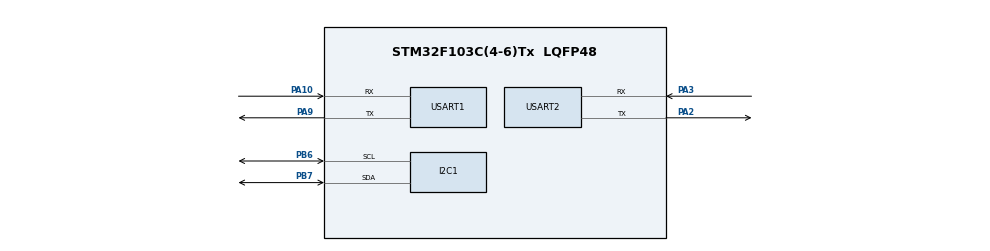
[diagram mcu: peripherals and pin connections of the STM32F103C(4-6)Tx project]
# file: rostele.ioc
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I2C1.I2C_Mode=I2C_Fast
Mcu.Family=STM32F1
Mcu.Name=STM32F103C(4-6)Tx
Mcu.Package=LQFP48
NVIC.PriorityGroup=NVIC_PRIORITYGROUP_4
NVIC.USART1_IRQn=true\:0\:0\:false\:false\:true\:true\:true\:true
NVIC.USART2_IRQn=true\:0\:0\:false\:false\:true\:true\:true\:true
PA10.Mode=Asynchronous
PA10.Signal=USART1_RX
PA2.Mode=Asynchronous
PA2.Signal=USART2_TX
PA3.Mode=Asynchronous
PA3.Signal=USART2_RX
PA9.Mode=Asynchronous
PA9.Signal=USART1_TX
PB6.Mode=I2C
PB6.Signal=I2C1_SCL
PB7.Mode=I2C
PB7.Signal=I2C1_SDA
PD0-OSC_IN.Mode=HSE-External-Oscillator
PD0-OSC_IN.Signal=RCC_OSC_IN
PD1-OSC_OUT.Mode=HSE-External-Oscillator
PD1-OSC_OUT.Signal=RCC_OSC_OUT
ProjectManager.HeapSize=0x200
ProjectManager.StackSize=0x400
ProjectManager.TargetToolchain=MDK-ARM V5.32
RCC.AHBFreq_Value=16000000
RCC.APB1CLKDivider=RCC_HCLK_DIV2
RCC.APB1Freq_Value=8000000
RCC.APB1TimFreq_Value=16000000
RCC.APB2Freq_Value=16000000
RCC.APB2TimFreq_Value=16000000
RCC.HCLKFreq_Value=16000000
RCC.PLLSourceVirtual=RCC_PLLSOURCE_HSE
RCC.SYSCLKFreq_VALUE=16000000
RCC.SYSCLKSource=RCC_SYSCLKSOURCE_PLLCLK
RCC.USBFreq_Value=16000000
USART1.VirtualMode=VM_ASYNC
USART2.VirtualMode=VM_ASYNC
VP_SYS_VS_ND.Mode=No_Debug
board=custom

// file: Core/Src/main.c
/* USER CODE BEGIN Header */
/**
  ******************************************************************************
  * @file           : main.c
  * @brief          : ROS2 cmd_vel serial receiver + echo test
  ******************************************************************************
  */
/* USER CODE END Header */
#include "main.h"
#include "i2c.h"
#include "usart.h"
#include "gpio.h"
#include "oled.h"
#include <string.h>
#include <stdio.h>

/* USER CODE BEGIN PV */
uint8_t usart1_rx;
uint8_t rx_buf[8];
uint8_t rx_idx = 0;
uint8_t rx_state = 0;
float g_vx = 0.0f, g_vy = 0.0f;
char echo_buf[64];
char oled_buf[32];
char oled_text[128];
uint8_t text_idx = 0;
/* USER CODE END PV */

void SystemClock_Config(void);

int main(void)
{

  /* MCU Configuration--------------------------------------------------------*/

  /* Reset of all peripherals, Initializes the Flash interface and the Systick. */
  HAL_Init();

  /* Configure the system clock */
  SystemClock_Config();

  /* Initialize all configured peripherals */
  MX_GPIO_Init();
  MX_USART1_UART_Init();
  MX_I2C1_Init();
  MX_USART2_UART_Init();
  /* USER CODE BEGIN 2 */
  // ??????
  char *hello = "STM32 Ready\r\n";
  HAL_UART_Transmit(&huart1, (uint8_t*)hello, strlen(hello), 100);

  // OLED 初始化并显示欢迎�?
  OLED_Init();
  OLED_NewFrame();
  OLED_PrintASCIIString(0, 0, "ROS2 OLED Ready", &afont8x6, OLED_COLOR_NORMAL);
  OLED_ShowFrame();

  HAL_UART_Receive_IT(&huart1, &usart1_rx, 1);
  /* USER CODE END 2 */

  /* Infinite loop */
  while (1)
  {

  }
}

void SystemClock_Config(void)
{
  RCC_OscInitTypeDef RCC_OscInitStruct = {0};
  RCC_ClkInitTypeDef RCC_ClkInitStruct = {0};

  /** Initializes the RCC Oscillators according to the specified parameters
  * in the RCC_OscInitTypeDef structure.
  */
  RCC_OscInitStruct.OscillatorType = RCC_OSCILLATORTYPE_HSE;
  RCC_OscInitStruct.HSEState = RCC_HSE_ON;
  RCC_OscInitStruct.HSEPredivValue = RCC_HSE_PREDIV_DIV1;
  RCC_OscInitStruct.HSIState = RCC_HSI_ON;
  RCC_OscInitStruct.PLL.PLLState = RCC_PLL_ON;
  RCC_OscInitStruct.PLL.PLLSource = RCC_PLLSOURCE_HSE;
  RCC_OscInitStruct.PLL.PLLMUL = RCC_PLL_MUL9;
  if (HAL_RCC_OscConfig(&RCC_OscInitStruct) != HAL_OK)
  {
    Error_Handler();
  }

  /** Initializes the CPU, AHB and APB buses clocks
  */
  RCC_ClkInitStruct.ClockType = RCC_CLOCKTYPE_HCLK|RCC_CLOCKTYPE_SYSCLK
                              |RCC_CLOCKTYPE_PCLK1|RCC_CLOCKTYPE_PCLK2;
  RCC_ClkInitStruct.SYSCLKSource = RCC_SYSCLKSOURCE_PLLCLK;
  RCC_ClkInitStruct.AHBCLKDivider = RCC_SYSCLK_DIV1;
  RCC_ClkInitStruct.APB1CLKDivider = RCC_HCLK_DIV2;
  RCC_ClkInitStruct.APB2CLKDivider = RCC_HCLK_DIV1;

  if (HAL_RCC_ClockConfig(&RCC_ClkInitStruct, FLASH_LATENCY_2) != HAL_OK)
  {
    Error_Handler();
  }
}

/* USER CODE BEGIN 4 */
void HAL_UART_RxCpltCallback(UART_HandleTypeDef *huart)
{
    if(huart->Instance == USART1)
    {
        uint8_t ch = usart1_rx;

        switch(rx_state) {
            case 0:
                if(ch == 0xAB) rx_state = 10;
                else if(ch == 0xAA) rx_state = 1;
                break;
            case 10:
                if(ch == 0xCD) { rx_state = 11; text_idx = 0; }
                else rx_state = 0;
                break;
            case 11:
                if(ch == 0x0D) {
                    oled_text[text_idx] = 0;
                    OLED_NewFrame();
                    OLED_PrintASCIIString(0, 0, oled_text, &afont8x6, OLED_COLOR_NORMAL);
                    OLED_ShowFrame();
                    rx_state = 0;
                } else {
                    if(text_idx < 127) oled_text[text_idx++] = ch;
                }
                break;
            case 1:
                if(ch == 0x55) { rx_state = 2; rx_idx = 0; }
                else rx_state = 0;
                break;
            case 2:
                rx_buf[rx_idx++] = ch;
                if(rx_idx >= 8) rx_state = 3;
                break;
            case 3:
                {
                    uint8_t sum = 0xAA + 0x55;
                    for(int i=0; i<8; i++) sum += rx_buf[i];
                    if((sum & 0xFF) == ch) {
                        memcpy(&g_vx, rx_buf, 4);
                        memcpy(&g_vy, rx_buf+4, 4);

                        // ?????(Windows???????)
                        sprintf(echo_buf, "OK vx:%.3f vy:%.3f\r\n", g_vx, g_vy);
                        HAL_UART_Transmit(&huart1, (uint8_t*)echo_buf, strlen(echo_buf), 100);

                        // �? OLED 上显�? vx/vy
                        OLED_NewFrame();
                        sprintf(oled_buf, "vx:%.2f", g_vx);
                        OLED_PrintASCIIString(0, 0, oled_buf, &afont8x6, OLED_COLOR_NORMAL);
                        sprintf(oled_buf, "vy:%.2f", g_vy);
                        OLED_PrintASCIIString(0, 16, oled_buf, &afont8x6, OLED_COLOR_NORMAL);
                        OLED_ShowFrame();
                    } else {
                        // ???????
                        char *err = "ERR checksum\r\n";
                        HAL_UART_Transmit(&huart1, (uint8_t*)err, strlen(err), 100);
                    }
                }
                rx_state = 0;
                break;
        }

        HAL_UART_Receive_IT(&huart1, &usart1_rx, 1);
    }
}
/* USER CODE END 4 */

void Error_Handler(void)
{
  __disable_irq();
  while (1)
  {
  }
}
